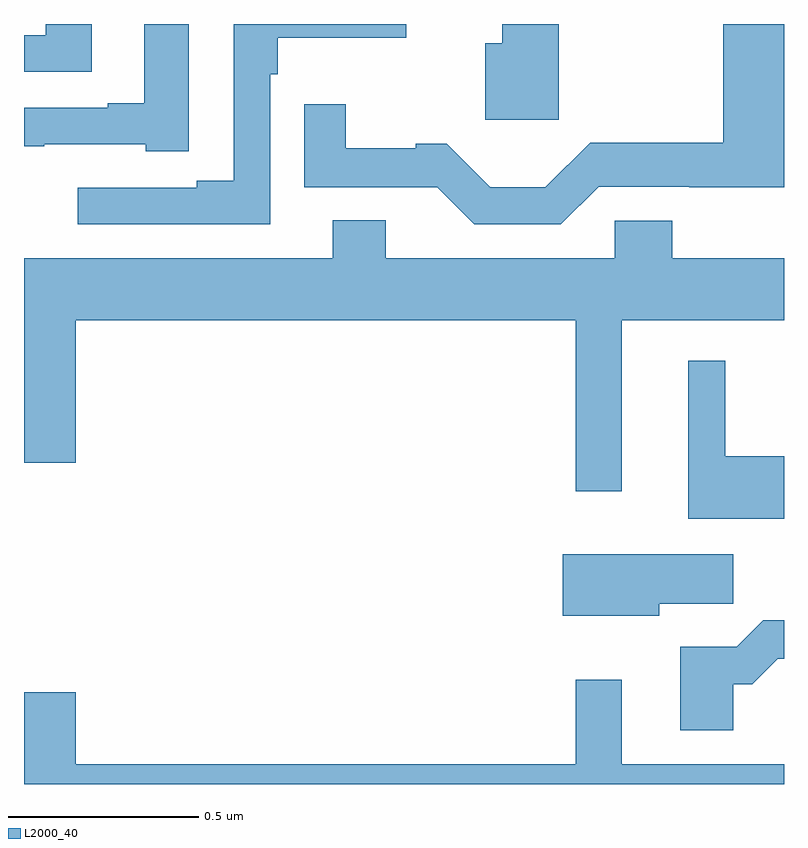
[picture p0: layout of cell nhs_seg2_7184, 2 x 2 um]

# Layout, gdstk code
import gdstk
lib = gdstk.Library(unit=1e-6, precision=1e-09)
def P(c, l, *ps):  # polygons
    for p in ps: c.add(gdstk.Polygon(p, *l))
L2000_40 = (2000, 40)

nhs_seg2_7184 = lib.new_cell('nhs_seg2_7184')
P(nhs_seg2_7184, L2000_40, [(202.407,597.8),(202.259,597.8),(202.259,597.749),(202.214,597.749),(202.214,597.548),(202.407,597.548)],
  [(201.433,597.8),(201.317,597.8),(201.317,597.592),(201.221,597.592),(201.221,597.579),(201,597.579),(201,597.478),(201.053,597.478),(201.053,597.483),(201.321,597.483),(201.321,597.465),(201.433,597.465)],
  [(201.648,597.668),(201.668,597.668),(201.668,597.764),(202.006,597.764),(202.006,597.8),(201.552,597.8),(201.552,597.387),(201.455,597.387),(201.455,597.369),(201.141,597.369),(201.141,597.273),(201.648,597.273)],
  [(201.178,597.8),(201.057,597.8),(201.057,597.771),(201,597.771),(201,597.675),(201.178,597.675)],
  [(202.512,597.372),(202.751,597.372),(202.751,597.371),(203,597.371),(203,597.8),(202.84,597.8),(202.84,597.488),(202.49,597.488),(202.372,597.37),(202.227,597.37),(202.112,597.485),(202.031,597.485),(202.031,597.473),(201.847,597.473),(201.847,597.589),(201.738,597.589),(201.738,597.371),(202.088,597.371),(202.185,597.273),(202.413,597.273)],
  [(202.573,597.02),(203,597.02),(203,597.184),(202.706,597.184),(202.706,597.282),(202.554,597.282),(202.554,597.184),(201.952,597.184),(201.952,597.283),(201.812,597.283),(201.812,597.184),(201,597.184),(201,596.646),(201.136,596.646),(201.136,597.02),(202.452,597.02),(202.452,596.571),(202.573,596.571)],
  [(203,596.662),(202.846,596.662),(202.846,596.914),(202.748,596.914),(202.748,596.498),(203,596.498)],
  [(202.672,596.275),(202.867,596.275),(202.867,596.404),(202.418,596.404),(202.418,596.243),(202.672,596.243)],
  [(202.867,596.063),(202.916,596.063),(202.983,596.13),(203,596.13),(203,596.231),(202.946,596.231),(202.876,596.161),(202.727,596.161),(202.727,595.941),(202.867,595.941)],
  [(203,595.852),(202.573,595.852),(202.573,596.074),(202.452,596.074),(202.452,595.852),(201.136,595.852),(201.136,596.041),(201,596.041),(201,595.8),(203,595.8)])

lib.write_gds('nhs_seg2_7184.gds')
